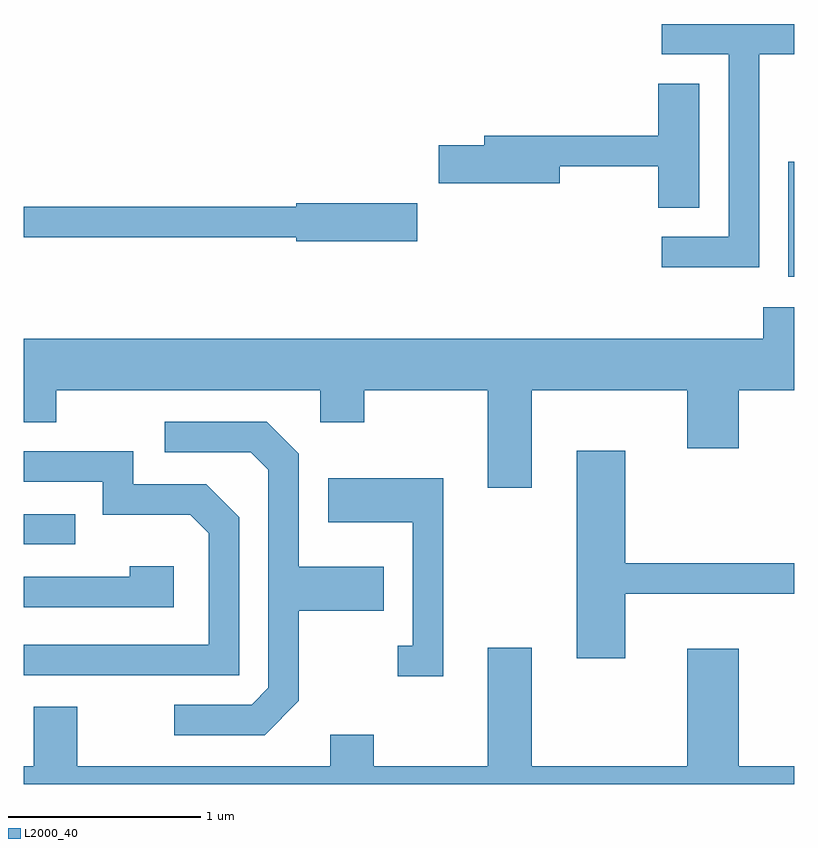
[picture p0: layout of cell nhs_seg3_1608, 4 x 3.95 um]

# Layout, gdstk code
import gdstk
lib = gdstk.Library(unit=1e-6, precision=1e-09)
def R(c, l, rs):  # rectangles x0, y0, x1, y1
    for r in rs: c.add(gdstk.rectangle(r[:2], r[2:], *l))
def P(c, l, *ps):  # polygons
    for p in ps: c.add(gdstk.Polygon(p, *l))
L2000_40 = (2000, 40)

nhs_seg3_1608 = lib.new_cell('nhs_seg3_1608')
R(nhs_seg3_1608, L2000_40, [(231.611,1205.136,231.878,1205.294), (235.581,1206.526,235.611,1207.124)])
P(nhs_seg3_1608, L2000_40, [(235.429,1207.681),(235.611,1207.681),(235.611,1207.839),(234.923,1207.839),(234.923,1207.681),(235.271,1207.681),(235.271,1206.734),(234.923,1206.734),(234.923,1206.576),(235.429,1206.576)],
  [(235.119,1207.529),(234.906,1207.529),(234.906,1207.259),(234.001,1207.259),(234.001,1207.209),(233.766,1207.209),(233.766,1207.011),(234.394,1207.011),(234.394,1207.101),(234.906,1207.101),(234.906,1206.886),(235.119,1206.886)],
  [(233.654,1206.909),(233.026,1206.909),(233.026,1206.889),(231.611,1206.889),(231.611,1206.731),(233.026,1206.731),(233.026,1206.711),(233.654,1206.711)],
  [(234.249,1205.936),(235.056,1205.936),(235.056,1205.636),(235.324,1205.636),(235.324,1205.936),(235.611,1205.936),(235.611,1206.369),(235.451,1206.369),(235.451,1206.204),(231.611,1206.204),(231.611,1205.771),(231.779,1205.771),(231.779,1205.936),(233.151,1205.936),(233.151,1205.771),(233.379,1205.771),(233.379,1205.936),(234.021,1205.936),(234.021,1205.431),(234.249,1205.431)],
  [(233.039,1204.324),(233.039,1204.791),(233.479,1204.791),(233.479,1205.019),(233.039,1205.019),(233.039,1205.607),(232.872,1205.774),(232.343,1205.774),(232.343,1205.616),(232.789,1205.616),(232.881,1205.524),(232.881,1204.392),(232.794,1204.304),(232.393,1204.304),(232.393,1204.146),(232.862,1204.146)],
  [(234.734,1204.881),(235.611,1204.881),(235.611,1205.039),(234.734,1205.039),(234.734,1205.624),(234.481,1205.624),(234.481,1204.546),(234.734,1204.546)],
  [(232.729,1205.277),(232.557,1205.449),(232.179,1205.449),(232.179,1205.619),(231.611,1205.619),(231.611,1205.461),(232.021,1205.461),(232.021,1205.291),(232.474,1205.291),(232.571,1205.194),(232.571,1204.614),(231.611,1204.614),(231.611,1204.456),(232.729,1204.456)],
  [(233.789,1205.479),(233.191,1205.479),(233.191,1205.251),(233.631,1205.251),(233.631,1204.609),(233.553,1204.609),(233.553,1204.451),(233.789,1204.451)],
  [(232.389,1205.024),(232.161,1205.024),(232.161,1204.969),(231.611,1204.969),(231.611,1204.811),(232.389,1204.811)],
  [(235.611,1203.984),(235.324,1203.984),(235.324,1204.594),(235.056,1204.594),(235.056,1203.984),(234.249,1203.984),(234.249,1204.599),(234.021,1204.599),(234.021,1203.984),(233.429,1203.984),(233.429,1204.149),(233.201,1204.149),(233.201,1203.984),(231.889,1203.984),(231.889,1204.294),(231.661,1204.294),(231.661,1203.984),(231.611,1203.984),(231.611,1203.892),(235.611,1203.892)])

lib.write_gds('nhs_seg3_1608.gds')
